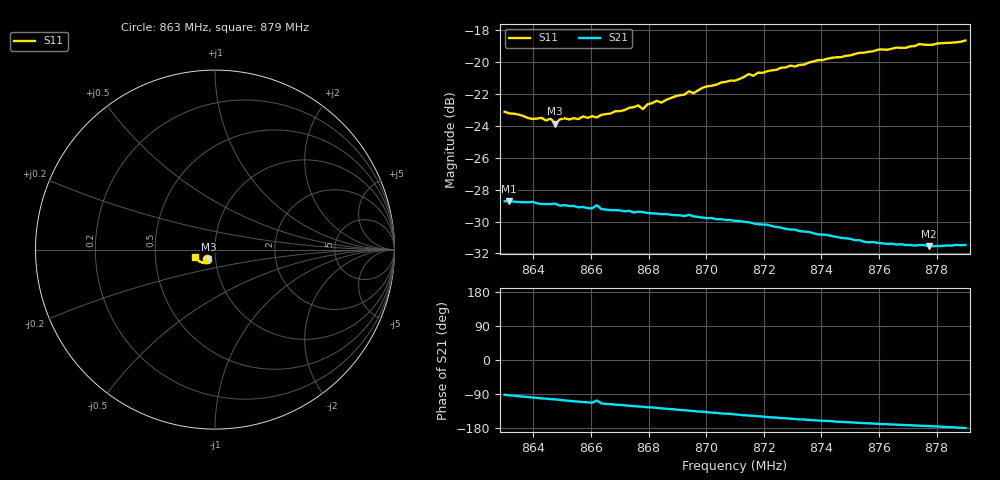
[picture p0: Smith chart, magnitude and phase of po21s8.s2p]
# HZ S RI R 50
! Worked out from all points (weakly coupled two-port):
!   101 points, 863 MHz to 879 MHz, reference 50 ohm
!   highest |S21| = -28.72 dB at 863.16 MHz (marker M1); lowest = -31.5 dB at 877.72 MHz (marker M2)
!   lowest |S11| = -23.9 dB at 864.76 MHz (marker M3), VSWR 1.14, Z = 46.2 - j4.86 ohm
!   |S11| at or under -10 dB: start of sweep to end of sweep
!   S12 and S22 are empty: the file has one direction only
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8.63e8  -0.0452 -0.0533  -0.00115 -0.0366  0 0  0 0
8.6316e8  -0.0429 -0.054  -0.00201 -0.0366  0 0  0 0
8.6396e8  -0.0385 -0.054  -0.00566 -0.036  0 0  0 0
8.646e8  -0.0377 -0.0548  -0.00829 -0.0349  0 0  0 0
8.6476e8  -0.0368 -0.0524  -0.00852 -0.0349  0 0  0 0
8.6492e8  -0.0365 -0.0551  -0.00944 -0.0342  0 0  0 0
8.6572e8  -0.0344 -0.058  -0.0125 -0.0328  0 0  0 0
8.662e8  -0.0353 -0.0569  -0.0103 -0.034  0 0  0 0
8.6636e8  -0.0353 -0.0585  -0.0144 -0.0314  0 0  0 0
8.6764e8  -0.0361 -0.0635  -0.0183 -0.0286  0 0  0 0
8.678e8  -0.0348 -0.0621  -0.0187 -0.0282  0 0  0 0
8.6828e8  -0.0365 -0.0661  -0.0198 -0.027  0 0  0 0
8.6844e8  -0.0362 -0.0652  -0.0204 -0.0264  0 0  0 0
8.694e8  -0.041 -0.0697  -0.0229 -0.024  0 0  0 0
8.6956e8  -0.0412 -0.0684  -0.0231 -0.0233  0 0  0 0
8.6988e8  -0.0426 -0.0714  -0.0236 -0.0224  0 0  0 0
8.71e8  -0.0483 -0.0728  -0.0256 -0.0189  0 0  0 0
8.7148e8  -0.0515 -0.0758  -0.0262 -0.0174  0 0  0 0
8.7372e8  -0.0687 -0.0731  -0.0271 -0.0104  0 0  0 0
8.7644e8  -0.0914 -0.0612  -0.0265 -0.00461  0 0  0 0
8.7772e8  -0.1005 -0.0519  -0.0263 -0.00262  0 0  0 0
8.79e8  -0.1101 -0.0389  -0.0267 -0.0002  0 0  0 0
